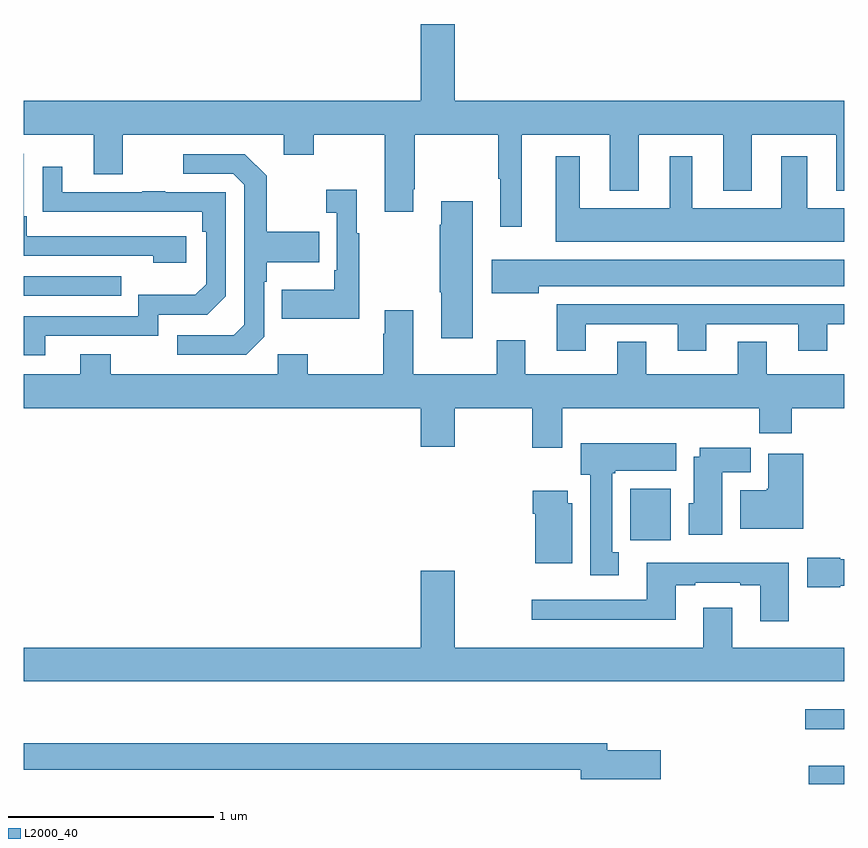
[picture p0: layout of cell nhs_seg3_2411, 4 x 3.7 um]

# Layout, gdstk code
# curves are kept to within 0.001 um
import gdstk
lib = gdstk.Library(unit=1e-6, precision=1e-09)
def R(c, l, rs):  # rectangles x0, y0, x1, y1
    for r in rs: c.add(gdstk.rectangle(r[:2], r[2:], *l))
def P(c, l, *ps):  # polygons
    for p in ps: c.add(gdstk.Polygon(p, *l))
L2000_40 = (2000, 40)

nhs_seg3_2411 = lib.new_cell('nhs_seg3_2411')
R(nhs_seg3_2411, L2000_40, [(238.826,716.4,239,716.488), (238.809,716.667,239,716.764), (237.957,717.588,238.153,717.838), (235,718.779,235.475,718.875)])
P(nhs_seg3_2411, L2000_40, [(237.427,719.564),(237.857,719.564),(237.857,719.291),(237.997,719.291),(237.997,719.564),(238.409,719.564),(238.409,719.291),(238.549,719.291),(238.549,719.564),(238.961,719.564),(238.961,719.291),(239,719.291),(239,719.728),(237.1,719.728),(237.1,720.103),(236.936,720.103),(236.936,719.728),(235,719.728),(235,719.564),(235.343,719.564),(235.343,719.37),(235.483,719.37),(235.483,719.564),(236.267,719.564),(236.267,719.465),(236.415,719.465),(236.415,719.564),(236.759,719.564),(236.759,719.187),(236.899,719.187),(236.899,719.299),(236.907,719.299),(236.907,719.564),(237.313,719.564),(237.313,719.348),(237.323,719.348),(237.323,719.115),(237.427,719.115)],
  [(235.792,719.07),(235.015,719.07),(235.015,719.167),(235.002,719.167),(235.002,719.472),(235,719.472),(235,718.974),(235.631,718.974),(235.631,718.94),(235.792,718.94)],
  [(236.172,718.578),(236.172,718.847),(236.185,718.847),(236.185,718.943),(236.441,718.943),(236.441,719.091),(236.185,719.091),(236.185,719.363),(236.079,719.469),(235.779,719.469),(235.779,719.373),(236.022,719.373),(236.076,719.319),(236.076,718.638),(236.025,718.587),(235.749,718.587),(235.749,718.491),(236.085,718.491)],
  [(239,719.206),(238.819,719.206),(238.819,719.458),(238.691,719.458),(238.691,719.206),(238.258,719.206),(238.258,719.458),(238.148,719.458),(238.148,719.206),(237.709,719.206),(237.709,719.458),(237.593,719.458),(237.593,719.042),(239,719.042)],
  [(235.105,718.584),(235.656,718.584),(235.656,718.686),(235.896,718.686),(235.986,718.776),(235.986,719.283),(235.691,719.283),(235.691,719.288),(235.579,719.288),(235.579,719.283),(235.189,719.283),(235.189,719.407),(235.093,719.407),(235.093,719.188),(235.87,719.187),(235.87,719.09),(235.89,719.09),(235.89,718.836),(235.837,718.783),(235.56,718.783),(235.56,718.68),(235,718.68),(235,718.488),(235.105,718.488)],
  [(236.635,719.083),(236.623,719.083),(236.623,719.296),(236.475,719.296),(236.475,719.183),(236.526,719.183),(236.526,718.903),(236.514,718.903),(236.514,718.807),(236.257,718.807),(236.257,718.667),(236.635,718.667)],
  [(237.19,719.239),(237.035,719.239),(237.035,719.126),(237.028,719.126),(237.028,718.795),(237.035,718.795),(237.035,718.572),(237.19,718.572)],
  [(237.511,718.826),(239,718.826),(239,718.954),(237.282,718.954),(237.282,718.79),(237.511,718.79)],
  [(237.739,718.641),(238.187,718.641),(238.187,718.512),(238.327,718.512),(238.327,718.641),(238.775,718.641),(238.775,718.512),(238.915,718.512),(238.915,718.641),(239,718.641),(239,718.737),(237.599,718.737),(237.599,718.512),(237.739,718.512)],
  [(237.625,718.232),(238.585,718.232),(238.585,718.108),(238.742,718.108),(238.742,718.232),(239,718.232),(239,718.396),(238.621,718.396),(238.621,718.556),(238.481,718.556),(238.481,718.396),(238.033,718.396),(238.033,718.556),(237.893,718.556),(237.893,718.396),(237.445,718.396),(237.445,718.561),(237.305,718.561),(237.305,718.396),(236.899,718.396),(236.899,718.708),(236.759,718.708),(236.759,718.595),(236.752,718.595),(236.752,718.396),(236.385,718.396),(236.385,718.495),(236.238,718.495),(236.238,718.396),(235.425,718.396),(235.425,718.495),(235.277,718.495),(235.277,718.396),(235,718.396),(235,718.232),(236.936,718.232),(236.936,718.044),(237.1,718.044),(237.1,718.232),(237.478,718.232),(237.478,718.038),(237.625,718.038)],
  [(237.901,717.529),(237.868,717.529),(237.868,717.913),(237.882,717.913),(237.882,717.926),(238.18,717.926),(238.18,718.06),(237.716,718.06),(237.716,717.906),(237.761,717.906),(237.761,717.417),(237.901,717.417)],
  [(238.405,717.92),(238.543,717.92),(238.543,718.038),(238.295,718.038),(238.295,717.994),(238.265,717.994),(238.265,717.768),(238.241,717.768),(238.241,717.614),(238.405,717.614)],
  [(238.799,718.009),(238.628,718.009),(238.628,717.838),(238.622,717.838),(238.622,717.832),(238.493,717.832),(238.493,717.644),(238.799,717.644)],
  [(237.673,717.768),(237.652,717.768),(237.652,717.829),(237.482,717.829),(237.482,717.716),(237.494,717.716),(237.494,717.476),(237.673,717.476)],
  [(238.98,717.366),(239,717.366),(239,717.494),(238.98,717.494),(238.98,717.502),(238.818,717.502),(238.818,717.358),(238.98,717.358)],
  [(238.729,717.478),(238.037,717.478),(238.037,717.297),(237.477,717.297),(237.477,717.2),(238.177,717.2),(238.177,717.369),(238.273,717.369),(238.273,717.381),(238.493,717.381),(238.493,717.369),(238.589,717.369),(238.589,717.192),(238.729,717.192)],
  [(239,717.064),(238.453,717.064),(238.453,717.259),(238.313,717.259),(238.313,717.064),(237.1,717.064),(237.1,717.439),(236.936,717.439),(236.936,717.064),(235,717.064),(235,716.9),(239,716.9)],
  [(238.105,716.565),(237.844,716.565),(237.844,716.599),(235,716.599),(235,716.47),(237.716,716.47),(237.716,716.423),(238.105,716.423)])

lib.write_gds('nhs_seg3_2411.gds')
